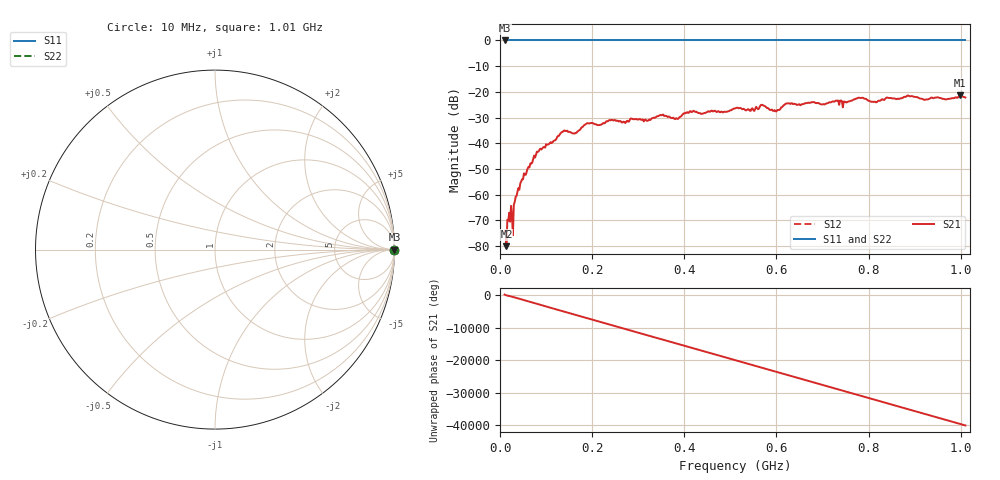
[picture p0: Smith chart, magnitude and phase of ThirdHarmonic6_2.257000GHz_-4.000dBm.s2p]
! 8/17/2025 2:45:20 AM
! C:\ANRITSUVNA\TEMP\TEMP.S2P
! CHANNEL.1
! TR.MEASUREMENT
! RAW.DATA
! RF.CORRECTION.OFF
! AVERAGING.OFF
! IF.BANDWIDTH: 5KHZ
! SWEEPTYPE:  FREQ.SWEEP(Linear)
! Reference Plane Port Info
! PORT:  PORT1  PORT2
! DISTANCE:  0  m  0  m
! TIME:  0  s  0  s
! PHASE.OFFSET:  0  deg.  0  deg.
! LOSS:  0  dB  0  dB
! REF.LOSS:  0  dB  0  dB
! REF.FREQ:  0  Hz  0  Hz
! Power Info
! POWER:  -20  dBm  -20  dBm
! EFF.POWER:  -20  dBm  -20  dBm
! SOURCE.ATTEN:  0  dB  0  dB
! TEST.ATTEN:  0  dB  0  dB
# GHZ S RI R 50.0
! FREQ.GHZ  S11RE  S11IM  S21RE  S21IM  S12RE  S12IM  S22RE  S22IM
!; PortSelection: Port_12
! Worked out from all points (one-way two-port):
!   501 points, 10 MHz to 1.01 GHz, reference 50 ohm
!   highest |S21| = -21.38 dB at 998 MHz (marker M1); lowest = -80.1 dB at 14 MHz (marker M2)
!   lowest |S11| = 0.0 dB at 10 MHz (marker M3)
!   |S11| at or under -10 dB: nowhere
!   |S22| runs from 0.0 to 0.0 dB; largest |S21 - S12| = 1.1
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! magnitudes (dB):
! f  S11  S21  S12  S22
! 10 MHz  0.0  -74.7  0.0  0.0
! 14 MHz  0.0  -80.1  0.0  0.0
! 20 MHz  0.0  -67.1  0.0  0.0
! 24 MHz  0.0  -64.4  0.0  0.0
! 30 MHz  0.0  -63.9  0.0  0.0
! 34 MHz  0.0  -60.8  0.0  0.0
! 48 MHz  0.0  -54.0  0.0  0.0
! 78 MHz  0.0  -44.6  0.0  0.0
! 136 MHz  0.0  -35.6  0.0  0.0
! 162 MHz  0.0  -36.2  0.0  0.0
! 178 MHz  0.0  -33.7  0.0  0.0
! 344 MHz  0.0  -29.4  0.0  0.0
! 382 MHz  0.0  -30.3  0.0  0.0
! 416 MHz  0.0  -27.9  0.0  0.0
! 510 MHz  0.0  -26.4  0.0  0.0
! 570 MHz  0.0  -25.2  0.0  0.0
! 596 MHz  0.0  -27.1  0.0  0.0
! 624 MHz  0.0  -24.5  0.0  0.0
! 678 MHz  0.0  -24.1  0.0  0.0
! 844 MHz  0.0  -22.4  0.0  0.0
! 998 MHz  0.0  -21.4  0.0  0.0
! 1.01 GHz  0.0  -22.2  0.0  0.0
